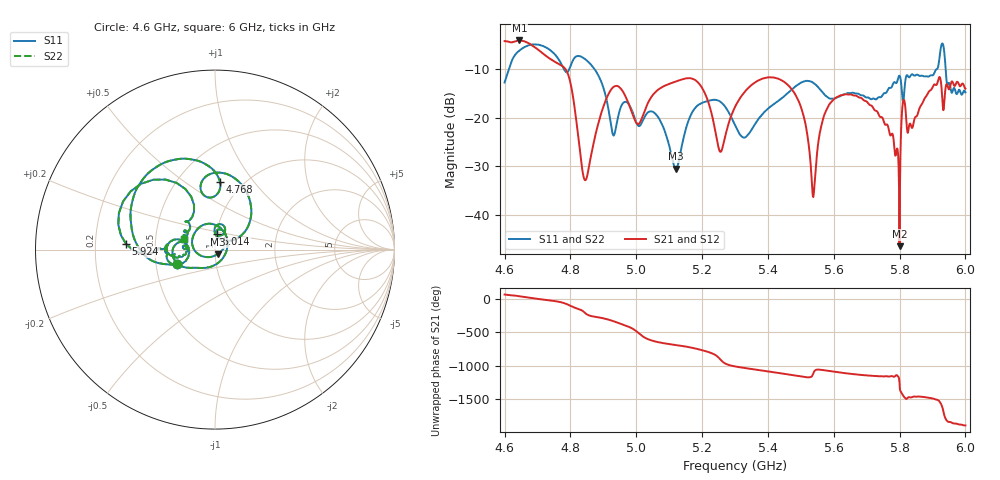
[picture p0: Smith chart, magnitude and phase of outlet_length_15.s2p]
! TOUCHSTONE file generated by CST MICROWAVE STUDIO
! Date and time: Mon Dec  2 04:50:26 2024
! Project name: test_tuning.cst
! Parameters = {airCoaxOuterDiameter=3; chamferAngle=45; chamferWidth=24; connectorLength=10; drillingHoleDiameter=4.1; feedLength=60; flareDiameter=130; flareLength=70; gratingDistance=0; gratingGap=1.90274; outletLength=120; polarizerLength=134; probe1Diameter=1.3; probe1Distance=14; probe1Length=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
! Header version: 2024
! Port assignment regex: !\s*Touchstone port\s*([0-9]+)\s*=\s*(CST MWS port|CST DES external port|CST DES block port)\s*(.+)\s* \(\"(.*)\"\)(\s*mode\s*([0-9]+))?.*
! Touchstone port assignment:
! Touchstone port 1 = CST MWS port 1 ("Input1")
! Touchstone port 2 = CST MWS port 2 ("Input2")
# GHz S MA R 50
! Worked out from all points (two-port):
!   1001 points, 4.6 GHz to 6 GHz, reference 50 ohm
!   highest |S21| = -4.15 dB at 4.645 GHz (marker M1); lowest = -46.4 dB at 5.8 GHz (marker M2)
!   |S21| within 3 dB of the highest: start of sweep to 4.723 GHz
!   lowest |S11| = -30.5 dB at 5.121 GHz (marker M3), VSWR 1.06, Z = 51.5 - j2.63 ohm
!   |S11| at or under -10 dB: 4.779977 GHz to 4.796805 GHz (16.83 MHz wide, 0.351 % of centre); 4.873 GHz to 5.914 GHz (1.041 GHz wide, 19.3 % of centre); 5.94 GHz to end of sweep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
!   |S22| runs from -30.5 to -4.8 dB; largest |S21 - S12| = 8.8e-07
!   S11 on the Smith chart (normalised r, x): 4.6 GHz: 0.64, -0.11; 4.768 GHz: 0.79, +0.69; 5.014 GHz: 1.01, +0.17; 5.924 GHz: 0.34, +0.03; 6 GHz: 0.70, +0.09
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4.6  0.2294 -159.0  0.6107 66.3  0.6107 66.3  0.2294 -159.0
4.6448  0.4876 163.3  0.6204 40.9  0.6204 40.9  0.4876 163.3
4.768  0.3783 85.8  0.3506 -45.3  0.3506 -45.3  0.3783 85.8
4.8002  0.3382 103.4  0.2258 -102.9  0.2258 -102.9  0.3382 103.4
4.8338  0.4208 78.0  0.03311 -169.2  0.03311 -169.2  0.4208 78.0
4.9318  0.06543 65.1  0.2074 24.8  0.2074 24.8  0.06543 65.1
4.9654  0.1449 78.0  0.1701 -35.0  0.1701 -35.0  0.1449 78.0
5.0144  0.08546 82.7  0.09357 177.8  0.09357 177.8  0.08546 82.7
5.0676  0.09963 52.4  0.1948 70.8  0.1948 70.8  0.09963 52.4
5.1208  0.02977 -58.8  0.2352 28.8  0.2352 28.8  0.02977 -58.8
5.1978  0.1404 152.8  0.2075 -45.6  0.2075 -45.6  0.1404 152.8
5.2552  0.1458 99.3  0.04443 174.0  0.04443 174.0  0.1458 99.3
5.3  0.0838 34.6  0.1286 68.2  0.1286 68.2  0.0838 34.6
5.4596  0.1772 -145.0  0.2181 -50.5  0.2181 -50.5  0.1772 -145.1
5.5086  0.2345 -167.1  0.1034 -88.2  0.1034 -88.2  0.2345 -167.1
5.5338  0.2323 177.4  0.02081 -77.7  0.02081 -77.7  0.2323 177.4
5.608  0.1601 177.6  0.1609 -17.2  0.1609 -17.2  0.1601 177.6
5.7676  0.201 -169.1  0.07421 -84.6  0.07421 -84.6  0.201 -169.1
5.7998  0.2697 178.1  0.004767 -179.2  0.004767 -179.2  0.2697 178.1
5.8124  0.1545 -164.5  0.1524 -19.9  0.1524 -19.9  0.1545 -164.5
5.9244  0.4963 176.3  0.2474 -120.6  0.2474 -120.6  0.4963 176.3
6  0.1816 161.1  0.1982 -97.0  0.1982 -97.0  0.1816 161.1
